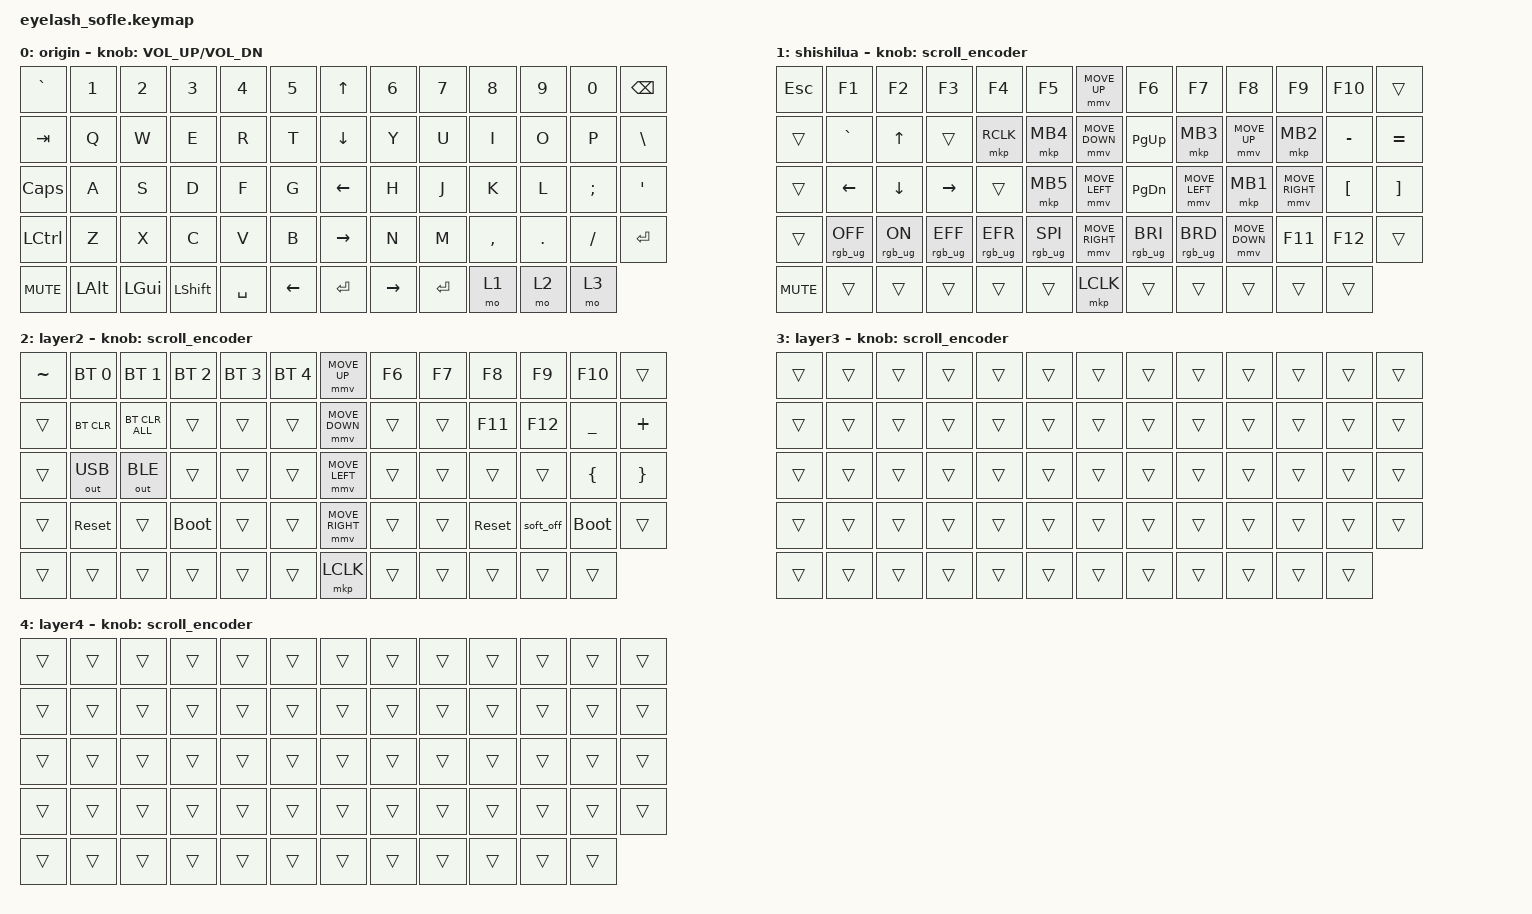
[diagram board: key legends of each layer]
#define ZMK_POINTING_DEFAULT_MOVE_VAL 1200  // 600
#define ZMK_POINTING_DEFAULT_SCRL_VAL 25   // 10

#include <input/processors.dtsi>
#include <zephyr/dt-bindings/input/input-event-codes.h>
#include <behaviors.dtsi>
#include <dt-bindings/zmk/bt.h>
#include <dt-bindings/zmk/keys.h>
#include <dt-bindings/zmk/outputs.h>
#include <dt-bindings/zmk/pointing.h>
#include <dt-bindings/zmk/rgb.h>

&mmv_input_listener { input-processors = <&zip_xy_scaler 2 1>; };

&msc_input_listener { input-processors = <&zip_scroll_scaler 2 1>; };

&msc {
    acceleration-exponent = <1>;      // 0
    time-to-max-speed-ms = <100>;       // 300
    delay-ms = <0>;                   // 0
};

&mmv {
    time-to-max-speed-ms = <500>;
    acceleration-exponent = <1>;
    trigger-period-ms = <16>;
};

&soft_off { hold-time-ms = <2000>; };

/ {
    scroll_encoder: scroll_encoder {
        compatible = "zmk,behavior-sensor-rotate";
        #sensor-binding-cells = <0>;
        bindings = <&msc SCRL_DOWN>, <&msc SCRL_UP>;

        tap-ms = <100>;
    };

    behaviors {
    };

    combos {
        compatible = "zmk,combos";

        softoff {
            bindings = <&soft_off>;
            key-positions = <14 28 40>;
        };
    };

    macros {
        SHIFT_MCLK: SHIFT_MCLK {
            compatible = "zmk,behavior-macro";
            #binding-cells = <0>;
            bindings =
                <&macro_press>,
                <&kp LEFT_SHIFT>,
                <&macro_press>,
                <&mkp MB3>,
                <&macro_pause_for_release>,
                <&macro_release>,
                <&kp LEFT_SHIFT &mkp MB3>;

            label = "SHIFT_MCLK";
        };
    };

    keymap {
        compatible = "zmk,keymap";

        origin {
            bindings = <
&kp GRAVE         &kp N1        &kp N2        &kp N3          &kp N4     &kp N5            &kp UP_ARROW     &kp N6           &kp N7     &kp N8     &kp N9   &kp N0    &kp BACKSPACE
&kp TAB           &kp Q         &kp W         &kp E           &kp R      &kp T             &kp DOWN_ARROW   &kp Y            &kp U      &kp I      &kp O    &kp P     &kp BSLH
&kp CAPS          &kp A         &kp S         &kp D           &kp F      &kp G             &kp LEFT_ARROW   &kp H            &kp J      &kp K      &kp L    &kp SEMI  &kp APOS
&kp LEFT_CONTROL  &kp Z         &kp X         &kp C           &kp V      &kp B             &kp RIGHT_ARROW  &kp N            &kp M      &kp COMMA  &kp DOT  &kp FSLH  &kp ENTER
&kp C_MUTE        &kp LEFT_ALT  &kp LEFT_GUI  &kp LEFT_SHIFT  &kp SPACE  &kp LEFT_ARROW    &kp ENTER        &kp RIGHT_ARROW  &kp ENTER  &mo 1      &mo 2    &mo 3
            >;

            sensor-bindings = <&inc_dec_kp C_VOLUME_UP C_VOL_DN>;
            display-name = "origin";
        };

        shishilua {
            bindings = <
&kp ESCAPE  &kp F1           &kp F2          &kp F3           &kp F4           &kp F5             &mmv MOVE_UP     &kp F6           &kp F7           &kp F8          &kp F9           &kp F10           &trans
&trans      &kp GRAVE        &kp UP          &trans           &mkp RCLK        &mkp MB4           &mmv MOVE_DOWN   &kp PG_UP        &mkp MB3         &mmv MOVE_UP    &mkp MB2         &kp MINUS         &kp EQUAL
&trans      &kp LEFT         &kp DOWN        &kp RIGHT        &trans           &mkp MB5           &mmv MOVE_LEFT   &kp PG_DN        &mmv MOVE_LEFT   &mkp MB1        &mmv MOVE_RIGHT  &kp LEFT_BRACKET  &kp RIGHT_BRACKET
&trans      &rgb_ug RGB_OFF  &rgb_ug RGB_ON  &rgb_ug RGB_EFF  &rgb_ug RGB_EFR  &rgb_ug RGB_SPI    &mmv MOVE_RIGHT  &rgb_ug RGB_BRI  &rgb_ug RGB_BRD  &mmv MOVE_DOWN  &kp F11          &kp F12           &trans
&kp C_MUTE  &trans           &trans          &trans           &trans           &trans             &mkp LCLK        &trans           &trans           &trans          &trans           &trans
            >;

            display-name = "shishilua";
            sensor-bindings = <&scroll_encoder>;
        };

        layer_2 {
            bindings = <
&kp TILDE  &bt BT_SEL 0  &bt BT_SEL 1    &bt BT_SEL 2  &bt BT_SEL 3  &bt BT_SEL 4    &mmv MOVE_UP     &kp F6  &kp F7  &kp F8      &kp F9     &kp F10      &trans
&trans     &bt BT_CLR    &bt BT_CLR_ALL  &trans        &trans        &trans          &mmv MOVE_DOWN   &trans  &trans  &kp F11     &kp F12    &kp UNDER    &kp PLUS
&trans     &out OUT_USB  &out OUT_BLE    &trans        &trans        &trans          &mmv MOVE_LEFT   &trans  &trans  &trans      &trans     &kp LBRC     &kp RBRC
&trans     &sys_reset    &trans          &bootloader   &trans        &trans          &mmv MOVE_RIGHT  &trans  &trans  &sys_reset  &soft_off  &bootloader  &trans
&trans     &trans        &trans          &trans        &trans        &trans          &mkp LCLK        &trans  &trans  &trans      &trans     &trans
            >;

            display-name = "layer2";
            sensor-bindings = <&scroll_encoder>;
        };

        layer_3 {
            bindings = <
&trans  &trans  &trans  &trans  &trans  &trans    &trans  &trans  &trans  &trans  &trans  &trans  &trans
&trans  &trans  &trans  &trans  &trans  &trans    &trans  &trans  &trans  &trans  &trans  &trans  &trans
&trans  &trans  &trans  &trans  &trans  &trans    &trans  &trans  &trans  &trans  &trans  &trans  &trans
&trans  &trans  &trans  &trans  &trans  &trans    &trans  &trans  &trans  &trans  &trans  &trans  &trans
&trans  &trans  &trans  &trans  &trans  &trans    &trans  &trans  &trans  &trans  &trans  &trans
            >;

            display-name = "layer3";
            sensor-bindings = <&scroll_encoder>;
        };

        layer_4 {
            bindings = <
&trans  &trans  &trans  &trans  &trans  &trans    &trans  &trans  &trans  &trans  &trans  &trans  &trans
&trans  &trans  &trans  &trans  &trans  &trans    &trans  &trans  &trans  &trans  &trans  &trans  &trans
&trans  &trans  &trans  &trans  &trans  &trans    &trans  &trans  &trans  &trans  &trans  &trans  &trans
&trans  &trans  &trans  &trans  &trans  &trans    &trans  &trans  &trans  &trans  &trans  &trans  &trans
&trans  &trans  &trans  &trans  &trans  &trans    &trans  &trans  &trans  &trans  &trans  &trans
            >;

            display-name = "layer4";
            sensor-bindings = <&scroll_encoder>;
        };
    };
};
